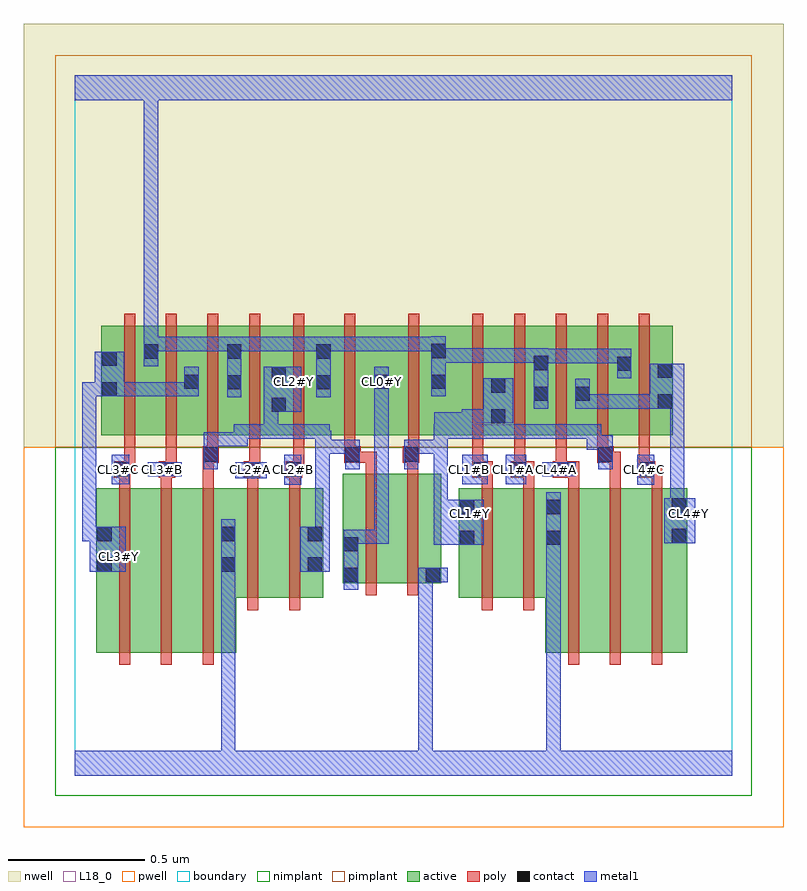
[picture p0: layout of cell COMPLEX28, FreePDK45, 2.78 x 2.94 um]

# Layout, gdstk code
import gdstk
lib = gdstk.Library(unit=1e-6, precision=1e-09)
def R(c, l, rs):  # rectangles x0, y0, x1, y1
    for r in rs: c.add(gdstk.rectangle(r[:2], r[2:], *l))
def A(c, l, x, y, w, h, nx, ny, dx, dy):  # array of equal rectangles
    R(c, l, [(x+i*dx, y+j*dy, x+i*dx+w, y+j*dy+h) for i in range(nx) for j in range(ny)])
active = (1, 0)
pwell = (2, 0)
nwell = (3, 0)
nimplant = (4, 0)
pimplant = (5, 0)
poly = (9, 0)
contact = (10, 0)
metal1 = (11, 0)
L18_0 = (18, 0)
boundary = (235, 0)

complex28 = lib.new_cell('COMPLEX28')
A(complex28, active, 1.672, 1.296, 0.06, 0.348, 3, 1, 0.152, 0)
R(complex28, active, [(0.078,0.45,0.258,1.05), (0.258,0.45,0.41,1.05), (0.41,0.45,0.59,1.05), (1.718,0.45,1.898,1.05), (1.898,0.45,2.05,1.05), (2.05,0.45,2.236,1.05), (0.078,0.556,0.138,1.05), (2.176,0.556,2.236,1.05), (0.53,0.65,0.726,1.05), (0.726,0.65,0.906,1.05), (1.402,0.65,1.582,1.05), (1.582,0.65,1.778,1.05), (1.718,0.662,1.778,1.04), (0.978,0.704,1.158,1.104), (0.978,0.704,1.038,1.104), (1.158,0.704,1.338,1.104), (1.278,0.704,1.338,1.104), (0.53,0.706,0.59,0.914), (0.846,0.734,0.906,1.05), (1.402,0.752,1.462,1.05), (0.096,1.244,0.156,1.644), (0.096,1.244,0.308,1.644), (0.248,1.244,0.456,1.644), (0.396,1.244,0.612,1.644), (0.552,1.244,0.774,1.644), (0.714,1.244,0.774,1.644), (0.714,1.244,0.938,1.644), (0.878,1.244,1.15,1.644), (1.09,1.244,1.358,1.644), (1.298,1.244,1.576,1.644), (1.516,1.244,1.732,1.644), (1.672,1.244,1.884,1.644), (1.824,1.244,2.036,1.644), (1.976,1.244,2.184,1.644), (2.124,1.244,2.184,1.644), (1.516,1.252,1.576,1.644), (0.396,1.276,0.456,1.644), (1.09,1.282,1.15,1.644), (0.248,1.296,0.308,1.644), (0.552,1.296,0.612,1.644), (0.878,1.296,0.938,1.644), (1.298,1.296,1.358,1.644)])
R(complex28, pwell, [(-0.188,-0.188,2.588,1.2)])
R(complex28, nwell, [(-0.188,1.2,2.588,2.748)])
R(complex28, nimplant, [(-0.072,-0.072,2.472,1.2)])
R(complex28, pimplant, [(-0.072,1.2,2.472,2.632)])
A(complex28, poly, 0.162, 0.406, 0.04, 0.688, 3, 1, 0.152, 0)
A(complex28, poly, 1.802, 0.406, 0.04, 0.688, 3, 1, 0.152, 0)
A(complex28, poly, 1.452, 1.11, 0.04, 0.13, 3, 1, 0.152, 0)
A(complex28, poly, 0.18, 1.2, 0.04, 0.488, 4, 1, 0.152, 0)
A(complex28, poly, 0.984, 1.2, 0.04, 0.488, 3, 1, 0.234, 0)
A(complex28, poly, 1.604, 1.2, 0.04, 0.488, 4, 1, 0.152, 0)
R(complex28, poly, [(0.63,0.606,0.67,1.094), (0.782,0.606,0.822,1.094), (1.486,0.606,1.526,1.094), (1.638,0.606,1.678,1.094), (1.062,0.66,1.102,1.148), (1.214,0.66,1.254,1.148), (0.162,1.054,0.202,1.13), (0.314,1.054,0.354,1.13), (0.466,1.054,0.506,1.184), (0.63,1.054,0.67,1.13), (0.782,1.054,0.822,1.13), (1.486,1.054,1.526,1.13), (1.638,1.054,1.678,1.13), (1.802,1.054,1.842,1.13), (1.954,1.054,1.994,1.184), (2.106,1.054,2.146,1.13), (0.142,1.09,0.202,1.15), (0.306,1.09,0.366,1.15), (0.616,1.09,0.676,1.15), (0.77,1.09,0.83,1.15), (1.452,1.09,1.526,1.15), (1.592,1.09,1.678,1.15), (1.746,1.09,1.842,1.15), (2.06,1.09,2.12,1.15), (2.08,1.09,2.12,1.13), (2.08,1.09,2.146,1.13), (1.062,1.108,1.102,1.184), (1.214,1.108,1.254,1.184), (0.162,1.11,0.202,1.15), (0.162,1.11,0.22,1.15), (0.18,1.11,0.22,1.24), (0.326,1.11,0.366,1.15), (0.326,1.11,0.372,1.15), (0.332,1.11,0.372,1.24), (0.636,1.11,0.676,1.24), (0.636,1.11,0.676,1.15), (0.636,1.11,0.676,1.15), (0.79,1.11,0.83,1.15), (0.79,1.11,0.838,1.15), (0.798,1.11,0.838,1.24), (1.452,1.11,1.492,1.15), (1.452,1.11,1.492,1.15), (1.604,1.11,1.644,1.15), (1.604,1.11,1.644,1.15), (1.756,1.11,1.796,1.15), (1.756,1.11,1.796,1.15), (2.06,1.11,2.1,1.24), (0.466,1.144,0.506,1.184), (0.466,1.144,0.506,1.184), (0.466,1.144,0.526,1.204), (0.984,1.144,1.044,1.204), (1.004,1.144,1.044,1.184), (1.004,1.144,1.102,1.184), (1.198,1.144,1.258,1.204), (1.908,1.144,1.968,1.204), (1.928,1.144,1.968,1.184), (1.928,1.144,1.994,1.184), (0.484,1.164,0.524,1.24), (0.984,1.164,1.024,1.24), (1.218,1.164,1.258,1.204), (1.218,1.164,1.258,1.204), (1.218,1.164,1.258,1.24), (1.908,1.164,1.948,1.24), (0.798,1.2,0.838,1.688)])
R(complex28, contact, [(0.982,0.708,1.034,0.76), (1.282,0.708,1.334,0.76), (0.082,0.746,0.134,0.798), (0.534,0.746,0.586,0.798), (0.85,0.746,0.902,0.798), (0.982,0.82,1.034,0.872), (1.406,0.844,1.458,0.896), (1.722,0.844,1.774,0.896), (2.18,0.85,2.232,0.902), (0.082,0.858,0.134,0.91), (0.534,0.858,0.586,0.91), (0.85,0.858,0.902,0.91), (1.406,0.956,1.458,1.008), (1.722,0.956,1.774,1.008), (2.18,0.962,2.232,1.014), (0.146,1.094,0.198,1.146), (0.31,1.094,0.362,1.146), (0.62,1.094,0.672,1.146), (0.774,1.094,0.826,1.146), (1.456,1.094,1.508,1.146), (1.596,1.094,1.648,1.146), (1.75,1.094,1.802,1.146), (2.064,1.094,2.116,1.146), (0.47,1.148,0.522,1.2), (0.988,1.148,1.04,1.2), (1.202,1.148,1.254,1.2), (1.912,1.148,1.964,1.2), (1.52,1.288,1.572,1.34), (0.718,1.33,0.77,1.382), (2.128,1.342,2.18,1.394), (1.676,1.37,1.728,1.422), (1.828,1.37,1.88,1.422), (0.1,1.386,0.152,1.438), (1.52,1.4,1.572,1.452), (0.556,1.412,0.608,1.464), (0.882,1.412,0.934,1.464), (0.4,1.414,0.452,1.466), (1.094,1.414,1.146,1.466), (1.302,1.414,1.354,1.466), (0.718,1.442,0.77,1.494), (2.128,1.454,2.18,1.506), (1.98,1.48,2.032,1.532), (1.676,1.482,1.728,1.534), (0.1,1.498,0.152,1.55), (0.252,1.524,0.304,1.576), (0.556,1.524,0.608,1.576), (0.882,1.524,0.934,1.576), (1.302,1.526,1.354,1.578)])
R(complex28, metal1, [(0,0,2.4,0.092), (0.534,0.04,0.586,0.092), (0.534,0.04,0.586,0.092), (0.534,0.04,0.586,0.092), (0.534,0.04,0.586,0.092), (0.534,0.04,0.586,0.092), (0.534,0.04,0.586,0.092), (0.534,0.04,0.586,0.77), (1.254,0.04,1.306,0.092), (1.254,0.04,1.306,0.092), (1.254,0.04,1.306,0.092), (1.254,0.04,1.306,0.092), (1.254,0.04,1.306,0.092), (1.254,0.04,1.306,0.092), (1.254,0.04,1.306,0.092), (1.254,0.04,1.306,0.092), (1.254,0.04,1.306,0.092), (1.254,0.04,1.306,0.092), (1.254,0.04,1.306,0.76), (1.722,0.04,1.774,0.092), (1.722,0.04,1.774,0.092), (1.722,0.04,1.774,0.092), (1.722,0.04,1.774,0.092), (1.722,0.04,1.774,0.092), (1.722,0.04,1.774,0.092), (1.722,0.04,1.774,0.092), (1.722,0.04,1.774,0.092), (1.722,0.04,1.774,0.868), (0.982,0.68,1.034,0.9), (1.254,0.708,1.306,0.76), (1.254,0.708,1.306,0.76), (1.254,0.708,1.362,0.76), (0.534,0.718,0.586,0.77), (0.534,0.718,0.586,0.77), (0.534,0.718,0.586,0.938), (0.054,0.746,0.186,0.91), (0.822,0.746,0.93,0.91), (1.722,0.816,1.774,1.036), (1.31,0.844,1.494,1.008), (0.982,0.848,1.086,0.9), (1.034,0.848,1.086,0.9), (1.034,0.848,1.146,0.9), (1.094,0.848,1.146,0.9), (1.094,0.848,1.146,0.9), (1.094,0.848,1.146,0.9), (1.094,0.848,1.146,1.438), (2.152,0.85,2.266,1.014), (0.026,0.858,0.078,0.91), (0.026,0.858,0.078,0.91), (0.026,0.858,0.078,0.91), (0.026,0.858,0.078,0.91), (0.026,0.858,0.078,0.91), (0.026,0.858,0.078,0.91), (0.026,0.858,0.106,0.91), (0.026,0.858,0.078,1.438), (0.054,0.858,0.106,0.91), (0.878,0.858,0.93,0.91), (0.878,0.858,0.93,0.91), (0.878,0.858,0.93,1.26), (1.31,0.956,1.362,1.228), (2.174,0.962,2.226,1.014), (2.174,0.962,2.226,1.014), (2.174,0.962,2.226,1.014), (2.174,0.962,2.226,1.014), (2.174,0.962,2.226,1.014), (2.174,0.962,2.226,1.014), (2.174,0.962,2.226,1.014), (2.174,0.962,2.226,1.014), (2.174,0.962,2.226,1.394), (0.764,1.064,0.826,1.174), (2.054,1.064,2.116,1.174), (0.134,1.066,0.198,1.174), (1.414,1.066,1.508,1.174), (1.574,1.066,1.648,1.174), (0.586,1.088,0.7,1.146), (0.266,1.094,0.39,1.146), (1.706,1.094,1.83,1.146), (0.47,1.12,0.522,1.256), (0.988,1.12,1.04,1.228), (1.202,1.12,1.254,1.228), (1.912,1.12,1.964,1.244), (0.884,1.176,1.04,1.228), (0.884,1.176,0.936,1.26), (1.202,1.176,1.328,1.228), (1.276,1.176,1.328,1.228), (1.276,1.176,1.362,1.228), (1.31,1.176,1.362,1.228), (1.31,1.176,1.362,1.284), (1.87,1.192,1.964,1.244), (1.87,1.192,1.922,1.284), (0.47,1.204,0.632,1.256), (0.58,1.204,0.632,1.284), (0.878,1.208,0.936,1.26), (0.878,1.208,0.93,1.284), (0.58,1.232,0.632,1.284), (0.58,1.232,0.632,1.284), (0.58,1.232,0.632,1.284), (0.58,1.232,0.632,1.284), (0.58,1.232,0.632,1.284), (0.58,1.232,0.632,1.284), (0.58,1.232,0.742,1.284), (0.58,1.232,0.758,1.284), (0.69,1.232,0.742,1.284), (0.69,1.232,0.742,1.382), (0.706,1.232,0.758,1.284), (0.706,1.232,0.758,1.284), (0.706,1.232,0.758,1.284), (0.706,1.232,0.93,1.284), (1.31,1.232,1.364,1.284), (1.312,1.232,1.508,1.284), (1.312,1.232,1.364,1.328), (1.456,1.232,1.508,1.284), (1.456,1.232,1.618,1.284), (1.566,1.232,1.618,1.284), (1.566,1.232,1.618,1.284), (1.566,1.232,1.618,1.284), (1.566,1.232,1.758,1.284), (1.706,1.232,1.758,1.284), (1.706,1.232,1.758,1.284), (1.706,1.232,1.758,1.284), (1.706,1.232,1.922,1.284), (1.312,1.276,1.364,1.328), (1.312,1.276,1.464,1.328), (1.412,1.276,1.464,1.34), (1.412,1.288,1.544,1.34), (1.492,1.288,1.6,1.452), (0.69,1.33,0.826,1.494), (1.676,1.342,1.728,1.562), (1.828,1.342,1.88,1.45), (1.828,1.342,1.908,1.394), (1.856,1.342,1.908,1.394), (1.856,1.342,2.042,1.394), (1.99,1.342,2.042,1.394), (1.99,1.342,2.152,1.394), (2.1,1.342,2.152,1.394), (2.1,1.342,2.152,1.394), (2.1,1.342,2.226,1.506), (2.174,1.342,2.226,1.394), (2.174,1.342,2.226,1.394), (2.174,1.342,2.226,1.394), (2.174,1.342,2.226,1.394), (2.174,1.342,2.226,1.394), (2.174,1.342,2.226,1.394), (0.556,1.384,0.608,1.604), (0.882,1.384,0.934,1.604), (0.026,1.386,0.124,1.438), (0.072,1.386,0.124,1.438), (0.072,1.386,0.18,1.55), (0.128,1.386,0.18,1.438), (0.128,1.386,0.18,1.438), (0.128,1.386,0.342,1.438), (0.29,1.386,0.342,1.438), (0.29,1.386,0.342,1.438), (0.29,1.386,0.342,1.438), (0.29,1.386,0.452,1.438), (0.4,1.386,0.452,1.494), (1.094,1.386,1.146,1.438), (1.094,1.386,1.146,1.438), (1.094,1.386,1.146,1.438), (1.094,1.386,1.146,1.438), (1.094,1.386,1.146,1.438), (1.094,1.386,1.146,1.438), (1.094,1.386,1.146,1.494), (1.302,1.386,1.354,1.606), (1.98,1.452,2.032,1.56), (0.252,1.496,0.304,1.604), (1.676,1.508,1.728,1.56), (1.676,1.508,1.728,1.56), (1.676,1.508,1.868,1.56), (1.816,1.508,1.868,1.56), (1.816,1.508,1.868,1.56), (1.816,1.508,1.868,1.56), (1.816,1.508,2.032,1.56), (1.302,1.51,1.434,1.562), (1.382,1.51,1.434,1.562), (1.382,1.51,1.464,1.562), (1.412,1.51,1.464,1.562), (1.412,1.51,1.618,1.562), (1.566,1.51,1.618,1.562), (1.566,1.51,1.618,1.562), (1.566,1.51,1.618,1.562), (1.566,1.51,1.728,1.562), (0.252,1.552,0.304,1.604), (0.252,1.552,0.304,1.604), (0.252,1.552,0.452,1.604), (0.252,1.552,0.304,2.52), (0.4,1.552,0.452,1.604), (0.4,1.552,0.452,1.604), (0.4,1.552,0.452,1.604), (0.4,1.552,0.608,1.604), (0.556,1.552,0.648,1.604), (0.596,1.552,0.648,1.604), (0.596,1.552,0.758,1.604), (0.706,1.552,0.758,1.604), (0.706,1.552,0.758,1.604), (0.706,1.552,0.758,1.604), (0.706,1.552,0.934,1.604), (0.882,1.552,0.936,1.604), (0.884,1.552,0.936,1.604), (0.884,1.552,1.044,1.604), (0.992,1.552,1.044,1.604), (0.992,1.552,1.196,1.604), (1.144,1.552,1.196,1.604), (1.144,1.552,1.196,1.604), (1.144,1.552,1.196,1.604), (1.144,1.552,1.354,1.604), (0,2.468,2.4,2.56), (0.252,2.468,0.304,2.52), (0.252,2.468,0.304,2.52), (0.252,2.468,0.304,2.52), (0.252,2.468,0.304,2.52), (0.252,2.468,0.304,2.52), (0.252,2.468,0.304,2.52), (0.252,2.468,0.304,2.52), (0.252,2.468,0.304,2.52), (0.252,2.468,0.304,2.52), (0.252,2.468,0.304,2.52), (0.252,2.468,0.304,2.52), (0.252,2.468,0.304,2.52), (0.252,2.468,0.304,2.52), (0.252,2.468,0.304,2.52), (0.252,2.468,0.304,2.52), (0.252,2.468,0.304,2.52)])
A(complex28, L18_0, 1.414, 1.094, 0.052, 0.052, 3, 1, 0.16, 0)
R(complex28, L18_0, [(0,0,2.4,0.092), (0.534,0.04,0.586,0.092), (0.534,0.04,0.586,0.092), (0.534,0.04,0.586,0.092), (0.534,0.04,0.586,0.092), (0.534,0.04,0.586,0.092), (0.534,0.04,0.586,0.092), (0.534,0.04,0.586,0.77), (1.254,0.04,1.306,0.092), (1.254,0.04,1.306,0.092), (1.254,0.04,1.306,0.092), (1.254,0.04,1.306,0.092), (1.254,0.04,1.306,0.092), (1.254,0.04,1.306,0.092), (1.254,0.04,1.306,0.092), (1.254,0.04,1.306,0.092), (1.254,0.04,1.306,0.092), (1.254,0.04,1.306,0.092), (1.254,0.04,1.306,0.76), (1.722,0.04,1.774,0.092), (1.722,0.04,1.774,0.092), (1.722,0.04,1.774,0.092), (1.722,0.04,1.774,0.092), (1.722,0.04,1.774,0.092), (1.722,0.04,1.774,0.092), (1.722,0.04,1.774,0.092), (1.722,0.04,1.774,0.092), (1.722,0.04,1.774,0.868), (0.982,0.68,1.034,0.9), (1.254,0.708,1.306,0.76), (1.254,0.708,1.306,0.76), (1.254,0.708,1.362,0.76), (0.534,0.718,0.586,0.77), (0.534,0.718,0.586,0.77), (0.534,0.718,0.586,0.938), (0.054,0.746,0.186,0.91), (0.822,0.746,0.93,0.91), (0.134,0.774,0.186,0.826), (1.722,0.816,1.774,1.036), (1.31,0.844,1.494,1.008), (0.982,0.848,1.086,0.9), (1.034,0.848,1.086,0.9), (1.034,0.848,1.146,0.9), (1.094,0.848,1.146,0.9), (1.094,0.848,1.146,0.9), (1.094,0.848,1.146,0.9), (1.094,0.848,1.146,1.438), (2.152,0.85,2.266,1.014), (0.026,0.858,0.106,0.91), (0.026,0.858,0.078,0.91), (0.026,0.858,0.078,0.91), (0.026,0.858,0.078,0.91), (0.026,0.858,0.078,0.91), (0.026,0.858,0.078,0.91), (0.026,0.858,0.078,0.91), (0.026,0.858,0.078,1.438), (0.054,0.858,0.106,0.91), (0.878,0.858,0.93,0.91), (0.878,0.858,0.93,0.91), (0.878,0.858,0.93,1.26), (1.414,0.934,1.466,0.986), (2.214,0.934,2.266,0.986), (1.31,0.956,1.362,1.228), (2.174,0.962,2.226,1.014), (2.174,0.962,2.226,1.014), (2.174,0.962,2.226,1.014), (2.174,0.962,2.226,1.014), (2.174,0.962,2.226,1.014), (2.174,0.962,2.226,1.014), (2.174,0.962,2.226,1.014), (2.174,0.962,2.226,1.014), (2.174,0.962,2.226,1.394), (0.764,1.064,0.826,1.174), (2.054,1.064,2.116,1.174), (0.134,1.066,0.198,1.174), (1.414,1.066,1.508,1.174), (1.574,1.066,1.648,1.174), (0.586,1.088,0.7,1.146), (0.134,1.094,0.186,1.146), (0.266,1.094,0.39,1.146), (0.294,1.094,0.346,1.146), (0.614,1.094,0.666,1.146), (0.774,1.094,0.826,1.146), (1.706,1.094,1.83,1.146), (2.054,1.094,2.106,1.146), (0.47,1.12,0.522,1.256), (0.988,1.12,1.04,1.228), (1.202,1.12,1.254,1.228), (1.912,1.12,1.964,1.244), (0.884,1.176,0.936,1.26), (0.884,1.176,1.04,1.228), (1.202,1.176,1.328,1.228), (1.276,1.176,1.328,1.228), (1.276,1.176,1.362,1.228), (1.31,1.176,1.362,1.228), (1.31,1.176,1.362,1.284), (1.87,1.192,1.922,1.284), (1.87,1.192,1.964,1.244), (0.47,1.204,0.632,1.256), (0.58,1.204,0.632,1.284), (0.878,1.208,0.93,1.284), (0.878,1.208,0.936,1.26), (0.58,1.232,0.632,1.284), (0.58,1.232,0.632,1.284), (0.58,1.232,0.632,1.284), (0.58,1.232,0.632,1.284), (0.58,1.232,0.632,1.284), (0.58,1.232,0.632,1.284), (0.58,1.232,0.742,1.284), (0.58,1.232,0.758,1.284), (0.69,1.232,0.742,1.284), (0.69,1.232,0.742,1.382), (0.706,1.232,0.758,1.284), (0.706,1.232,0.758,1.284), (0.706,1.232,0.758,1.284), (0.706,1.232,0.93,1.284), (1.31,1.232,1.364,1.284), (1.312,1.232,1.364,1.328), (1.312,1.232,1.508,1.284), (1.456,1.232,1.508,1.284), (1.456,1.232,1.618,1.284), (1.566,1.232,1.618,1.284), (1.566,1.232,1.618,1.284), (1.566,1.232,1.618,1.284), (1.566,1.232,1.758,1.284), (1.706,1.232,1.758,1.284), (1.706,1.232,1.758,1.284), (1.706,1.232,1.758,1.284), (1.706,1.232,1.922,1.284), (1.312,1.276,1.364,1.328), (1.312,1.276,1.464,1.328), (1.412,1.276,1.464,1.34), (1.412,1.288,1.544,1.34), (1.492,1.288,1.6,1.452), (0.69,1.33,0.826,1.494), (1.676,1.342,1.728,1.562), (1.828,1.342,1.908,1.394), (1.828,1.342,1.88,1.45), (1.856,1.342,1.908,1.394), (1.856,1.342,2.042,1.394), (1.99,1.342,2.042,1.394), (1.99,1.342,2.152,1.394), (2.1,1.342,2.152,1.394), (2.1,1.342,2.152,1.394), (2.1,1.342,2.226,1.506), (2.174,1.342,2.226,1.394), (2.174,1.342,2.226,1.394), (2.174,1.342,2.226,1.394), (2.174,1.342,2.226,1.394), (2.174,1.342,2.226,1.394), (2.174,1.342,2.226,1.394), (0.556,1.384,0.608,1.604), (0.882,1.384,0.934,1.604), (0.026,1.386,0.124,1.438), (0.072,1.386,0.124,1.438), (0.072,1.386,0.18,1.55), (0.128,1.386,0.18,1.438), (0.128,1.386,0.18,1.438), (0.128,1.386,0.342,1.438), (0.29,1.386,0.342,1.438), (0.29,1.386,0.342,1.438), (0.29,1.386,0.342,1.438), (0.29,1.386,0.452,1.438), (0.4,1.386,0.452,1.494), (1.094,1.386,1.146,1.438), (1.094,1.386,1.146,1.438), (1.094,1.386,1.146,1.438), (1.094,1.386,1.146,1.438), (1.094,1.386,1.146,1.438), (1.094,1.386,1.146,1.438), (1.094,1.386,1.146,1.494), (1.302,1.386,1.354,1.606), (0.774,1.414,0.826,1.466), (1.094,1.414,1.146,1.466), (1.98,1.452,2.032,1.56), (0.252,1.496,0.304,1.604), (1.676,1.508,1.728,1.56), (1.676,1.508,1.728,1.56), (1.676,1.508,1.868,1.56), (1.816,1.508,1.868,1.56), (1.816,1.508,1.868,1.56), (1.816,1.508,1.868,1.56), (1.816,1.508,2.032,1.56), (1.302,1.51,1.434,1.562), (1.382,1.51,1.434,1.562), (1.382,1.51,1.464,1.562), (1.412,1.51,1.464,1.562), (1.412,1.51,1.618,1.562), (1.566,1.51,1.618,1.562), (1.566,1.51,1.618,1.562), (1.566,1.51,1.618,1.562), (1.566,1.51,1.728,1.562), (0.252,1.552,0.304,1.604), (0.252,1.552,0.304,1.604), (0.252,1.552,0.304,2.52), (0.252,1.552,0.452,1.604), (0.4,1.552,0.452,1.604), (0.4,1.552,0.452,1.604), (0.4,1.552,0.452,1.604), (0.4,1.552,0.608,1.604), (0.556,1.552,0.648,1.604), (0.596,1.552,0.648,1.604), (0.596,1.552,0.758,1.604), (0.706,1.552,0.758,1.604), (0.706,1.552,0.758,1.604), (0.706,1.552,0.758,1.604), (0.706,1.552,0.934,1.604), (0.882,1.552,0.936,1.604), (0.884,1.552,0.936,1.604), (0.884,1.552,1.044,1.604), (0.992,1.552,1.044,1.604), (0.992,1.552,1.196,1.604), (1.144,1.552,1.196,1.604), (1.144,1.552,1.196,1.604), (1.144,1.552,1.196,1.604), (1.144,1.552,1.354,1.604), (0,2.468,2.4,2.56), (0.252,2.468,0.304,2.52), (0.252,2.468,0.304,2.52), (0.252,2.468,0.304,2.52), (0.252,2.468,0.304,2.52), (0.252,2.468,0.304,2.52), (0.252,2.468,0.304,2.52), (0.252,2.468,0.304,2.52), (0.252,2.468,0.304,2.52), (0.252,2.468,0.304,2.52), (0.252,2.468,0.304,2.52), (0.252,2.468,0.304,2.52), (0.252,2.468,0.304,2.52), (0.252,2.468,0.304,2.52), (0.252,2.468,0.304,2.52), (0.252,2.468,0.304,2.52), (0.252,2.468,0.304,2.52)])
R(complex28, boundary, [(0,0,2.4,2.56)])
complex28.add(gdstk.Label('CL0#Y', (1.12,1.44), layer=11, texttype=0))
complex28.add(gdstk.Label('CL1#A', (1.6,1.12), layer=11, texttype=0))
complex28.add(gdstk.Label('CL1#B', (1.44,1.12), layer=11, texttype=0))
complex28.add(gdstk.Label('CL1#Y', (1.44,0.96), layer=11, texttype=0))
complex28.add(gdstk.Label('CL2#A', (0.64,1.12), layer=11, texttype=0))
complex28.add(gdstk.Label('CL2#B', (0.8,1.12), layer=11, texttype=0))
complex28.add(gdstk.Label('CL2#Y', (0.8,1.44), layer=11, texttype=0))
complex28.add(gdstk.Label('CL3#B', (0.32,1.12), layer=11, texttype=0))
complex28.add(gdstk.Label('CL3#C', (0.16,1.12), layer=11, texttype=0))
complex28.add(gdstk.Label('CL3#Y', (0.16,0.8), layer=11, texttype=0))
complex28.add(gdstk.Label('CL4#A', (1.76,1.12), layer=11, texttype=0))
complex28.add(gdstk.Label('CL4#C', (2.08,1.12), layer=11, texttype=0))
complex28.add(gdstk.Label('CL4#Y', (2.24,0.96), layer=11, texttype=0))

lib.write_gds('COMPLEX28.gds')
